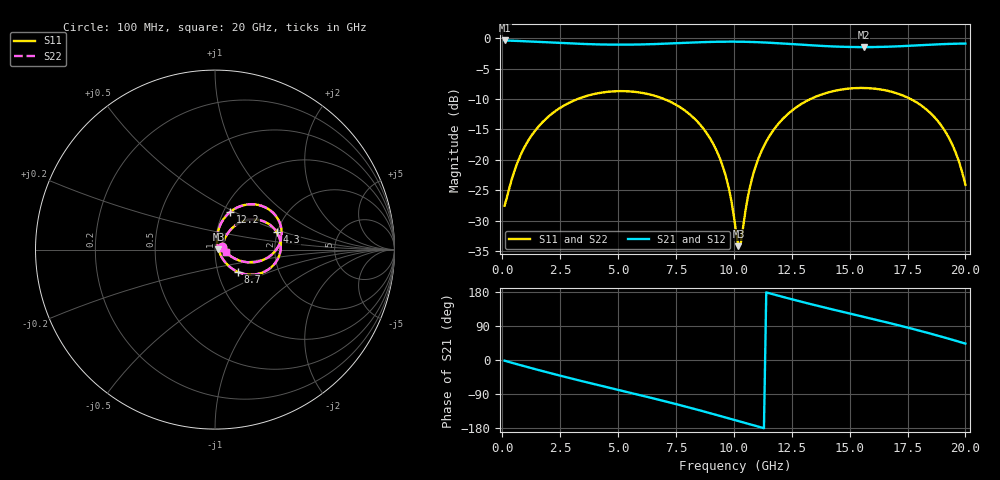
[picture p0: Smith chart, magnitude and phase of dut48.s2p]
! Touchstone file exported from HFSS 2026.1.0
!  File:  C:/ffzhzh/LocalFiles/Ansys_Project_Files/temp_train_TSV_RDL_48_1782966632_45308.aedt
!  Generated:  12:40:38 PM Jul  2, 2026
!  Design:  TSV_RDL
!  Project:  temp_train_TSV_RDL_48_1782966632_45308
! Variables:
!  h_bsmrdl = 3.41um
!  h_ox = 20um
!  h_rdl = 5um
!  h_sub = 90.39um
!  h_tmrdl = 2.15um
!  h_tsv = 90.39um
!  h_via = 3um
!  l_bsmrdl = 651.16um
!  l_sub = 4942.05um
!  l_tmrdl = 618.35um
!  m_sub = 200um
!  pitch = 34.14um
!  r_tsv = 9.11um
!  s_tmrdl = 10um
!  w_bsmrdl = 25.43um
!  w_sub = 500um
!  w_tmrdl = 12.96um
!  x_tsv_center1 = 624.83um
!  x_tsv_center2 = 1301.42um
!  x_tsv_center3 = 1932.73um
!  x_tsv_center4 = 2609.32um
!  x_tsv_center5 = 3240.63um
!  x_tsv_center6 = 3917.22um
# GHz S MA R 50.000000
! Terminal data exported
! Port[1] = TM_RDL1_1_T1
! Port[2] = TM_RDL5_1_T1
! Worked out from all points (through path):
!   200 points, 100 MHz to 20 GHz, reference 50 ohm
!   highest |S21| = -0.35 dB at 100 MHz (marker M1); lowest = -1.4 dB at 15.6 GHz (marker M2)
!   group delay of S21, straight-line fit = 43.7 ps
!   lowest |S11| = -34.2 dB at 10.2 GHz (marker M3), VSWR 1.04, Z = 52 + j0.0982 ohm
!   |S11| at or under -10 dB: start of sweep to 3.248 GHz; 6.992 GHz to 13.3 GHz (6.312 GHz wide, 62.2 % of centre); 17.64 GHz to end of sweep
!   |S22| runs from -34.2 to -8.2 dB; largest |S21 - S12| = 3.6e-14
!   S11 on the Smith chart (normalised r, x): 100 MHz: 1.08, +0.03; 4.3 GHz: 1.98, +0.44; 8.7 GHz: 1.25, -0.32; 12.2 GHz: 1.08, +0.47; 20 GHz: 1.13, -0.03
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0.1  0.04197 18.0  0.9604 -1.8  0.9604 -1.8  0.04197 18.0
! Gamma 0 0 0 0
! Port Impedance 50 0 50 0
0.7  0.09975 51.0  0.951 -12.2  0.951 -12.2  0.09975 51.0
1.3  0.162 51.0  0.9403 -22.2  0.9403 -22.2  0.162 51.0
2.3  0.2525 41.3  0.9207 -38.2  0.9207 -38.2  0.2526 41.3
3.5  0.329 26.2  0.899 -56.7  0.899 -56.7  0.3291 26.2
4.3  0.3576 15.7  0.8897 -68.5  0.8897 -68.5  0.3577 15.7
6.8  0.3264 -18.0  0.9 -105.5  0.9 -105.5  0.3264 -18.0
8.7  0.179 -44.2  0.9308 -135.7  0.9308 -135.7  0.1791 -44.1
9.6  0.07947 -51.0  0.9387 -150.9  0.9387 -150.9  0.0795 -51.0
9.9  0.04518 -44.9  0.9391 -156.1  0.9391 -156.1  0.04523 -44.8
10.1  0.02518 -24.0  0.9387 -159.5  0.9387 -159.5  0.02525 -23.9
10.2  0.01948 2.8  0.9383 -161.2  0.9383 -161.2  0.01957 2.8
10.3  0.02068 36.7  0.9377 -162.9  0.9377 -162.9  0.02076 36.6
10.6  0.04885 75.7  0.9352 -168.1  0.9352 -168.1  0.04889 75.6
11  0.09535 80.6  0.9299 -174.9  0.9299 -174.9  0.09538 80.5
12.2  0.2256 68.1  0.9044 165.1  0.9044 165.1  0.2257 68.1
13.4  0.3225 51.6  0.8745 146.3  0.8745 146.3  0.3226 51.6
15.6  0.3902 22.0  0.8467 114.0  0.8467 114.0  0.3903 22.0
16.7  0.3678 7.4  0.8537 97.8  0.8537 97.8  0.3679 7.3
18.8  0.2096 -19.8  0.8922 64.4  0.8922 64.4  0.2097 -19.9
19.5  0.1251 -24.4  0.9023 52.3  0.9023 52.3  0.1253 -24.5
20  0.06226 -13.9  0.9052 43.3  0.9052 43.3  0.06244 -14.0
